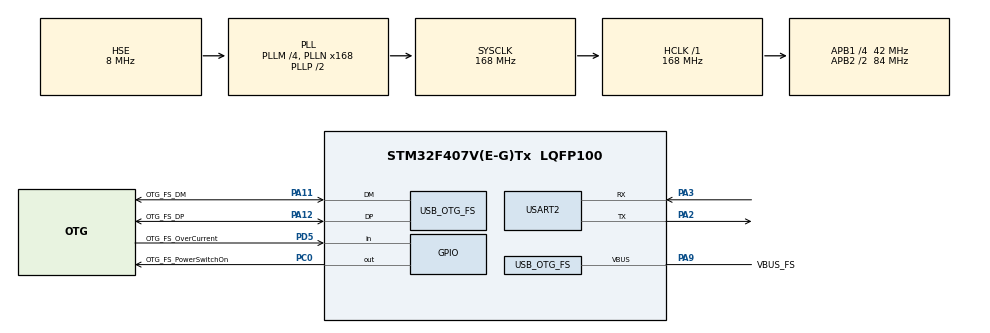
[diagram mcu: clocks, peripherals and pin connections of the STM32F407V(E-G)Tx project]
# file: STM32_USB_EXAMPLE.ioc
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FATFS._FS_EXFAT=0
FATFS._MAX_SS=4096
FATFS._USE_LFN=0
Mcu.Family=STM32F4
Mcu.Name=STM32F407V(E-G)Tx
Mcu.Package=LQFP100
NVIC.OTG_FS_IRQn=true\:0\:0\:false\:false\:true\:false\:true
NVIC.PriorityGroup=NVIC_PRIORITYGROUP_4
PA10.GPIO_Label=OTG_FS_ID
PA10.Signal=USB_OTG_FS_ID
PA11.GPIO_Label=OTG_FS_DM
PA11.Mode=Device_Only
PA11.Signal=USB_OTG_FS_DM
PA12.GPIO_Label=OTG_FS_DP
PA12.Mode=Device_Only
PA12.Signal=USB_OTG_FS_DP
PA13.Mode=Serial_Wire
PA13.Signal=SYS_JTMS-SWDIO
PA14.Mode=Serial_Wire
PA14.Signal=SYS_JTCK-SWCLK
PA2.Mode=Asynchronous
PA2.Signal=USART2_TX
PA3.Mode=Asynchronous
PA3.Signal=USART2_RX
PA9.GPIO_Label=VBUS_FS
PA9.Mode=Activate_VBUS
PA9.Signal=USB_OTG_FS_VBUS
PC0.GPIO_Label=OTG_FS_PowerSwitchOn
PC0.PinState=GPIO_PIN_SET
PC0.Signal=GPIO_Output
PD5.GPIO_Label=OTG_FS_OverCurrent
PD5.Signal=GPIO_Input
PH0-OSC_IN.GPIO_Label=PH0-OSC_IN
PH0-OSC_IN.Mode=HSE-External-Oscillator
PH0-OSC_IN.Signal=RCC_OSC_IN
PH1-OSC_OUT.GPIO_Label=PH1-OSC_OUT
PH1-OSC_OUT.Mode=HSE-External-Oscillator
PH1-OSC_OUT.Signal=RCC_OSC_OUT
ProjectManager.HeapSize=0x400
ProjectManager.StackSize=0x800
ProjectManager.TargetToolchain=SW4STM32
RCC.48MHZClocksFreq_Value=48000000
RCC.AHBFreq_Value=168000000
RCC.APB1CLKDivider=RCC_HCLK_DIV4
RCC.APB1Freq_Value=42000000
RCC.APB1TimFreq_Value=84000000
RCC.APB2CLKDivider=RCC_HCLK_DIV2
RCC.APB2Freq_Value=84000000
RCC.APB2TimFreq_Value=168000000
RCC.CortexFreq_Value=168000000
RCC.HCLKFreq_Value=168000000
RCC.HSE_VALUE=8000000
RCC.HSI_VALUE=16000000
RCC.LSE_VALUE=32768
RCC.PLLM=4
RCC.PLLN=168
RCC.PLLQ=7
RCC.SYSCLKFreq_VALUE=168000000
RCC.SYSCLKSource=RCC_SYSCLKSOURCE_PLLCLK
RCC.VCOOutputFreq_Value=336000000
USART2.VirtualMode=VM_ASYNC
USB_DEVICE.CLASS_NAME_FS=MSC
USB_DEVICE.VirtualMode-MSC_FS=Msc
USB_DEVICE.VirtualModeFS=Msc_FS
USB_OTG_FS.VirtualMode=Device_Only
VP_FATFS_VS_Generic.Mode=User_defined
VP_USB_DEVICE_VS_USB_DEVICE_MSC_FS.Mode=MSC_FS
board=custom

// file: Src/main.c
/* USER CODE BEGIN Header */
/**
  ******************************************************************************
  * @file           : main.c
  * @brief          : Main program body
  ******************************************************************************
  * @attention
  *
  * <h2><center>&copy; Copyright (c) 2023 STMicroelectronics.
  * All rights reserved.</center></h2>
  *
  * This software component is licensed by ST under Ultimate Liberty license
  * SLA0044, the "License"; You may not use this file except in compliance with
  * the License. You may obtain a copy of the License at:
  *                             www.st.com/SLA0044
  *
  ******************************************************************************
  */
/* USER CODE END Header */
#include "main.h"
#include "fatfs.h"
#include "usb_device.h"

/* USER CODE BEGIN Includes */
#include <stdio.h>
#include <string.h>
#include <stdarg.h> //for va_list vararg functions
/* USER CODE END Includes */

UART_HandleTypeDef huart2;

/* USER CODE BEGIN PV */
FATFS USBDISKFatFs;           /* File system object for USB disk logical drive */
FIL MyFile;                   /* File object */
char USBDISKPath[4];          /* USB Device logical drive path */
/* USER CODE END PV */

void SystemClock_Config(void);
static void MX_GPIO_Init(void);
static void MX_USART2_UART_Init(void);
/* USER CODE BEGIN PFP */
void myprintf(const char *fmt, ...);
/* USER CODE END PFP */

/* USER CODE BEGIN 0 */
void myprintf(const char *fmt, ...) {
  static char buffer[256];
  va_list args;
  va_start(args, fmt);
  vsnprintf(buffer, sizeof(buffer), fmt, args);
  va_end(args);

  int len = strlen(buffer);
  HAL_UART_Transmit(&huart2, (uint8_t*)buffer, len, -1);

}
/* USER CODE END 0 */

int main(void)
{
  /* USER CODE BEGIN 1 */
	  FRESULT res;                                          /* FatFs function common result code */
	  uint32_t byteswritten, bytesread;                     /* File write/read counts */
	  uint8_t wtext[] = "This is STM32 working with FatFs"; /* File write buffer */
	  uint8_t rtext[100];                                   /* File read buffer */

	  FATFS FatFs; 	//Fatfs handle
	     FIL fil; 		//File handle
	     FRESULT fres; //Result after operations
	     char USBHPath[4];   /* USBH logical drive path */
  /* USER CODE END 1 */

  /* MCU Configuration--------------------------------------------------------*/

  /* Reset of all peripherals, Initializes the Flash interface and the Systick. */
  HAL_Init();

  /* Configure the system clock */
  SystemClock_Config();

  /* Initialize all configured peripherals */
  MX_GPIO_Init();
  MX_USART2_UART_Init();
  MX_FATFS_Init();
  MX_USB_DEVICE_Init();

  myprintf("For debugging.....\r\n");
  /* USER CODE BEGIN 2 */
  fres = f_mount(&FatFs, (TCHAR const*)USBHPath, 0);

       	if (fres != FR_OK) {
       		myprintf ("ERROR!!! in mounting ...\n\n");
       	}
       	else{
       		myprintf("mounted successfully...\n");
       	}

           //Now let's try and write a file "write.txt"
            fres = f_open(&fil, "write.txt", FA_WRITE | FA_OPEN_ALWAYS | FA_CREATE_ALWAYS);
            if(fres == FR_OK) {
          	myprintf("I was able to open 'write.txt' for writing\r\n");
            } else {
          	myprintf("f_open error (%i)\r\n", fres);
            }

            //Read 30 bytes from "test.txt" on the SD card
              BYTE readBuf[30];

            //Copy in a string
                strncpy((char*)readBuf, "a new file is made!", 19);
                UINT bytesWrote;
                fres = f_write(&fil, readBuf, 19, &bytesWrote);
                if(fres == FR_OK) {
              	myprintf("Wrote %i bytes to 'write.txt'!\r\n", bytesWrote);
                } else {
              	myprintf("f_write error (%i)\r\n", fres);
                }

                fres = f_open(&fil, "test.txt", FA_READ);
                    if (fres != FR_OK) {
                  	myprintf("f_open error (%i)\r\n", fres);
                  	while(1);
                    }
                //Be a tidy kiwi - don't forget to close your file!
                f_close(&fil);
  /* USER CODE END 2 */

  /* Infinite loop */
  while (1)
  {

  }
}

void SystemClock_Config(void)
{
  RCC_OscInitTypeDef RCC_OscInitStruct = {0};
  RCC_ClkInitTypeDef RCC_ClkInitStruct = {0};

  /** Configure the main internal regulator output voltage
  */
  __HAL_RCC_PWR_CLK_ENABLE();
  __HAL_PWR_VOLTAGESCALING_CONFIG(PWR_REGULATOR_VOLTAGE_SCALE1);
  /** Initializes the RCC Oscillators according to the specified parameters
  * in the RCC_OscInitTypeDef structure.
  */
  RCC_OscInitStruct.OscillatorType = RCC_OSCILLATORTYPE_HSE;
  RCC_OscInitStruct.HSEState = RCC_HSE_ON;
  RCC_OscInitStruct.PLL.PLLState = RCC_PLL_ON;
  RCC_OscInitStruct.PLL.PLLSource = RCC_PLLSOURCE_HSE;
  RCC_OscInitStruct.PLL.PLLM = 4;
  RCC_OscInitStruct.PLL.PLLN = 168;
  RCC_OscInitStruct.PLL.PLLP = RCC_PLLP_DIV2;
  RCC_OscInitStruct.PLL.PLLQ = 7;
  if (HAL_RCC_OscConfig(&RCC_OscInitStruct) != HAL_OK)
  {
    Error_Handler();
  }
  /** Initializes the CPU, AHB and APB buses clocks
  */
  RCC_ClkInitStruct.ClockType = RCC_CLOCKTYPE_HCLK|RCC_CLOCKTYPE_SYSCLK
                              |RCC_CLOCKTYPE_PCLK1|RCC_CLOCKTYPE_PCLK2;
  RCC_ClkInitStruct.SYSCLKSource = RCC_SYSCLKSOURCE_PLLCLK;
  RCC_ClkInitStruct.AHBCLKDivider = RCC_SYSCLK_DIV1;
  RCC_ClkInitStruct.APB1CLKDivider = RCC_HCLK_DIV4;
  RCC_ClkInitStruct.APB2CLKDivider = RCC_HCLK_DIV2;

  if (HAL_RCC_ClockConfig(&RCC_ClkInitStruct, FLASH_LATENCY_5) != HAL_OK)
  {
    Error_Handler();
  }
}

static void MX_USART2_UART_Init(void)
{

  huart2.Instance = USART2;
  huart2.Init.BaudRate = 115200;
  huart2.Init.WordLength = UART_WORDLENGTH_8B;
  huart2.Init.StopBits = UART_STOPBITS_1;
  huart2.Init.Parity = UART_PARITY_NONE;
  huart2.Init.Mode = UART_MODE_TX_RX;
  huart2.Init.HwFlowCtl = UART_HWCONTROL_NONE;
  huart2.Init.OverSampling = UART_OVERSAMPLING_16;
  if (HAL_UART_Init(&huart2) != HAL_OK)
  {
    Error_Handler();
  }

}

static void MX_GPIO_Init(void)
{
  GPIO_InitTypeDef GPIO_InitStruct = {0};

  /* GPIO Ports Clock Enable */
  __HAL_RCC_GPIOH_CLK_ENABLE();
  __HAL_RCC_GPIOC_CLK_ENABLE();
  __HAL_RCC_GPIOA_CLK_ENABLE();
  __HAL_RCC_GPIOD_CLK_ENABLE();

  /*Configure GPIO pin Output Level */
  HAL_GPIO_WritePin(OTG_FS_PowerSwitchOn_GPIO_Port, OTG_FS_PowerSwitchOn_Pin, GPIO_PIN_SET);

  /*Configure GPIO pin : OTG_FS_PowerSwitchOn_Pin */
  GPIO_InitStruct.Pin = OTG_FS_PowerSwitchOn_Pin;
  GPIO_InitStruct.Mode = GPIO_MODE_OUTPUT_PP;
  GPIO_InitStruct.Pull = GPIO_NOPULL;
  GPIO_InitStruct.Speed = GPIO_SPEED_FREQ_LOW;
  HAL_GPIO_Init(OTG_FS_PowerSwitchOn_GPIO_Port, &GPIO_InitStruct);

  /*Configure GPIO pin : OTG_FS_OverCurrent_Pin */
  GPIO_InitStruct.Pin = OTG_FS_OverCurrent_Pin;
  GPIO_InitStruct.Mode = GPIO_MODE_INPUT;
  GPIO_InitStruct.Pull = GPIO_NOPULL;
  HAL_GPIO_Init(OTG_FS_OverCurrent_GPIO_Port, &GPIO_InitStruct);

}

void Error_Handler(void)
{
  __disable_irq();
  while (1)
  {
  }
}

/************************ (C) COPYRIGHT STMicroelectronics *****END OF FILE****/
